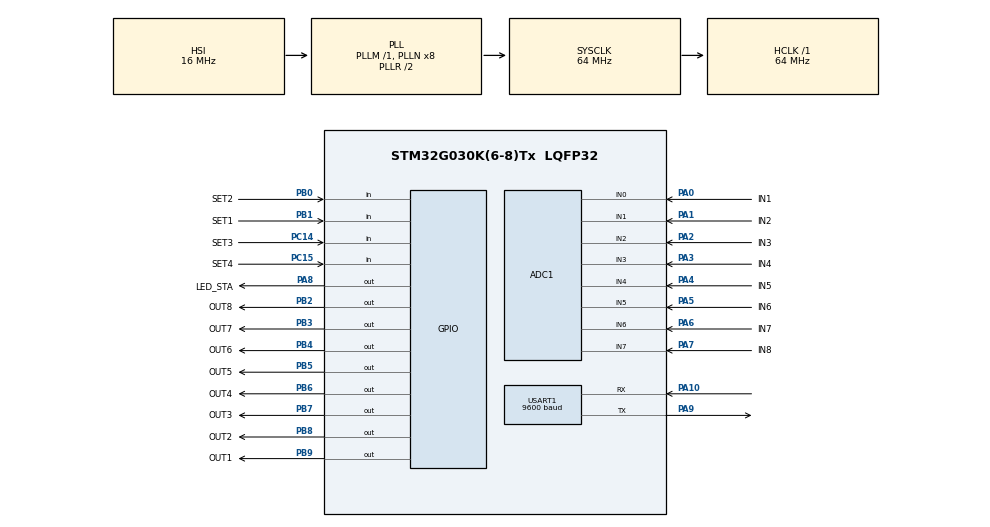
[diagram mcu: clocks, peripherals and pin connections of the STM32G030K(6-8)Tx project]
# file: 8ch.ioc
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ADC1.Channel-0\#ChannelRegularConversion=ADC_CHANNEL_0
ADC1.Channel-1\#ChannelRegularConversion=ADC_CHANNEL_1
ADC1.Channel-2\#ChannelRegularConversion=ADC_CHANNEL_2
ADC1.Channel-3\#ChannelRegularConversion=ADC_CHANNEL_3
ADC1.Channel-4\#ChannelRegularConversion=ADC_CHANNEL_4
ADC1.Channel-5\#ChannelRegularConversion=ADC_CHANNEL_5
ADC1.Channel-6\#ChannelRegularConversion=ADC_CHANNEL_6
ADC1.Channel-7\#ChannelRegularConversion=ADC_CHANNEL_7
ADC1.ClockPrescaler=ADC_CLOCK_ASYNC_DIV1
ADC1.ContinuousConvMode=ENABLE
ADC1.DMAContinuousRequests=ENABLE
ADC1.ExternalTrigConv=ADC_SOFTWARE_START
ADC1.NbrOfConversion=8
ADC1.NbrOfConversionFlag=1
ADC1.Rank-0\#ChannelRegularConversion=1
ADC1.Rank-1\#ChannelRegularConversion=2
ADC1.Rank-2\#ChannelRegularConversion=3
ADC1.Rank-3\#ChannelRegularConversion=4
ADC1.Rank-4\#ChannelRegularConversion=5
ADC1.Rank-5\#ChannelRegularConversion=6
ADC1.Rank-6\#ChannelRegularConversion=7
ADC1.Rank-7\#ChannelRegularConversion=8
ADC1.SamplingTime-0\#ChannelRegularConversion=ADC_SAMPLINGTIME_COMMON_1
ADC1.SamplingTime-1\#ChannelRegularConversion=ADC_SAMPLINGTIME_COMMON_1
ADC1.SamplingTime-2\#ChannelRegularConversion=ADC_SAMPLINGTIME_COMMON_1
ADC1.SamplingTime-3\#ChannelRegularConversion=ADC_SAMPLINGTIME_COMMON_1
ADC1.SamplingTime-4\#ChannelRegularConversion=ADC_SAMPLINGTIME_COMMON_1
ADC1.SamplingTime-5\#ChannelRegularConversion=ADC_SAMPLINGTIME_COMMON_1
ADC1.SamplingTime-6\#ChannelRegularConversion=ADC_SAMPLINGTIME_COMMON_1
ADC1.SamplingTime-7\#ChannelRegularConversion=ADC_SAMPLINGTIME_COMMON_1
ADC1.SamplingTimeCommon1=ADC_SAMPLETIME_79CYCLES_5
ADC1.SamplingTimeCommon2=ADC_SAMPLETIME_79CYCLES_5
ADC1.SelectedChannel=ADC_CHANNEL_0|ADC_CHANNEL_1|ADC_CHANNEL_2|ADC_CHANNEL_3|ADC_CHANNEL_4|ADC_CHANNEL_5|ADC_CHANNEL_6|ADC_CHANNEL_7
ADC1.master=1
Dma.ADC1.1.Direction=DMA_PERIPH_TO_MEMORY
Dma.ADC1.1.EventEnable=DISABLE
Dma.ADC1.1.Instance=DMA1_Channel2
Dma.ADC1.1.MemDataAlignment=DMA_MDATAALIGN_HALFWORD
Dma.ADC1.1.MemInc=DMA_MINC_ENABLE
Dma.ADC1.1.Mode=DMA_CIRCULAR
Dma.ADC1.1.PeriphDataAlignment=DMA_PDATAALIGN_HALFWORD
Dma.ADC1.1.PeriphInc=DMA_PINC_DISABLE
Dma.ADC1.1.Polarity=HAL_DMAMUX_REQ_GEN_RISING
Dma.ADC1.1.Priority=DMA_PRIORITY_VERY_HIGH
Dma.ADC1.1.RequestNumber=1
Dma.ADC1.1.SignalID=NONE
Dma.ADC1.1.SyncEnable=DISABLE
Dma.ADC1.1.SyncPolarity=HAL_DMAMUX_SYNC_NO_EVENT
Dma.ADC1.1.SyncRequestNumber=1
Dma.ADC1.1.SyncSignalID=NONE
Dma.Request0=USART1_TX
Dma.Request1=ADC1
Dma.USART1_TX.0.Direction=DMA_MEMORY_TO_PERIPH
Dma.USART1_TX.0.EventEnable=DISABLE
Dma.USART1_TX.0.Instance=DMA1_Channel1
Dma.USART1_TX.0.MemDataAlignment=DMA_MDATAALIGN_BYTE
Dma.USART1_TX.0.MemInc=DMA_MINC_ENABLE
Dma.USART1_TX.0.Mode=DMA_NORMAL
Dma.USART1_TX.0.PeriphDataAlignment=DMA_PDATAALIGN_BYTE
Dma.USART1_TX.0.PeriphInc=DMA_PINC_DISABLE
Dma.USART1_TX.0.Polarity=HAL_DMAMUX_REQ_GEN_RISING
Dma.USART1_TX.0.Priority=DMA_PRIORITY_LOW
Dma.USART1_TX.0.RequestNumber=1
Dma.USART1_TX.0.SignalID=NONE
Dma.USART1_TX.0.SyncEnable=DISABLE
Dma.USART1_TX.0.SyncPolarity=HAL_DMAMUX_SYNC_NO_EVENT
Dma.USART1_TX.0.SyncRequestNumber=1
Dma.USART1_TX.0.SyncSignalID=NONE
IWDG.Prescaler=IWDG_PRESCALER_128
Mcu.Family=STM32G0
Mcu.Name=STM32G030K(6-8)Tx
Mcu.Package=LQFP32
NVIC.DMA1_Channel1_IRQn=true\:2\:0\:true\:false\:true\:false\:true\:true
NVIC.DMA1_Channel2_3_IRQn=true\:0\:0\:false\:false\:true\:false\:true\:true
NVIC.TIM14_IRQn=true\:0\:0\:false\:false\:true\:true\:true\:true
NVIC.USART1_IRQn=true\:1\:0\:true\:false\:true\:true\:true\:true
PA0.GPIO_Label=IN1
PA0.Mode=IN0
PA0.Signal=ADC1_IN0
PA1.GPIO_Label=IN2
PA1.Mode=IN1
PA1.Signal=ADC1_IN1
PA10.GPIO_PuPd=GPIO_PULLUP
PA10.Mode=Asynchronous
PA10.Signal=USART1_RX
PA13.GPIO_Label=SWDIO
PA13.Mode=Serial_Wire
PA13.Signal=SYS_SWDIO
PA14-BOOT0.GPIO_Label=SWCLK
PA14-BOOT0.Mode=Serial_Wire
PA14-BOOT0.Signal=SYS_SWCLK
PA2.GPIO_Label=IN3
PA2.Mode=IN2
PA2.Signal=ADC1_IN2
PA3.GPIO_Label=IN4
PA3.Mode=IN3
PA3.Signal=ADC1_IN3
PA4.GPIO_Label=IN5
PA4.Mode=IN4
PA4.Signal=ADC1_IN4
PA5.GPIO_Label=IN6
PA5.Mode=IN5
PA5.Signal=ADC1_IN5
PA6.GPIO_Label=IN7
PA6.Mode=IN6
PA6.Signal=ADC1_IN6
PA7.GPIO_Label=IN8
PA7.Mode=IN7
PA7.Signal=ADC1_IN7
PA8.GPIO_Label=LED_STA
PA8.Signal=GPIO_Output
PA9.GPIO_PuPd=GPIO_PULLUP
PA9.Mode=Asynchronous
PA9.Signal=USART1_TX
PB0.GPIO_Label=SET2
PB0.GPIO_Mode=GPIO_MODE_INPUT
PB0.GPIO_PuPd=GPIO_PULLUP
PB0.Signal=GPIO_Input
PB1.GPIO_Label=SET1
PB1.GPIO_Mode=GPIO_MODE_INPUT
PB1.GPIO_PuPd=GPIO_PULLUP
PB1.Signal=GPIO_Input
PB2.GPIO_Label=OUT8
PB2.GPIO_PuPd=GPIO_NOPULL
PB2.Signal=GPIO_Output
PB3.GPIO_Label=OUT7
PB3.GPIO_PuPd=GPIO_NOPULL
PB3.Signal=GPIO_Output
PB4.GPIO_Label=OUT6
PB4.GPIO_PuPd=GPIO_NOPULL
PB4.Signal=GPIO_Output
PB5.GPIO_Label=OUT5
PB5.Signal=GPIO_Output
PB6.GPIO_Label=OUT4
PB6.Signal=GPIO_Output
PB7.GPIO_Label=OUT3
PB7.Signal=GPIO_Output
PB8.GPIO_Label=OUT2
PB8.Signal=GPIO_Output
PB9.GPIO_Label=OUT1
PB9.Signal=GPIO_Output
PC14-OSC32_IN\ (PC14).GPIO_Label=SET3
PC14-OSC32_IN\ (PC14).GPIO_Mode=GPIO_MODE_INPUT
PC14-OSC32_IN\ (PC14).GPIO_PuPd=GPIO_PULLUP
PC14-OSC32_IN\ (PC14).Signal=GPIO_Input
PC15-OSC32_OUT\ (PC15).GPIO_Label=SET4
PC15-OSC32_OUT\ (PC15).GPIO_Mode=GPIO_MODE_INPUT
PC15-OSC32_OUT\ (PC15).GPIO_PuPd=GPIO_PULLUP
PC15-OSC32_OUT\ (PC15).Signal=GPIO_Input
ProjectManager.HeapSize=0x200
ProjectManager.StackSize=0x400
ProjectManager.TargetToolchain=MDK-ARM V5.32
RCC.ADCFreq_Value=64000000
RCC.AHBFreq_Value=64000000
RCC.CortexFreq_Value=64000000
RCC.EXTERNAL_CLOCK_VALUE=12288000
RCC.HCLKFreq_Value=64000000
RCC.HSE_VALUE=8000000
RCC.HSI_VALUE=16000000
RCC.LSE_VALUE=32768
RCC.SYSCLKFreq_VALUE=64000000
RCC.SYSCLKSource=RCC_SYSCLKSOURCE_PLLCLK
RCC.VCOOutputFreq_Value=128000000
TIM14.Period=64000
TIM14.Prescaler=32 - 1
USART1.BaudRate=9600
USART1.VirtualMode-Asynchronous=VM_ASYNC
VP_IWDG_VS_IWDG.Mode=IWDG_Activate
VP_TIM14_VS_ClockSourceINT.Mode=Enable_Timer
board=custom

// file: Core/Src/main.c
/* USER CODE BEGIN Header */
/**
  ******************************************************************************
  * @file           : main.c
  * @brief          : Main program body
  ******************************************************************************
  * @attention
  *
  * <h2><center>&copy; Copyright (c) 2021 STMicroelectronics.
  * All rights reserved.</center></h2>
  *
  * This software component is licensed by ST under BSD 3-Clause license,
  * the "License"; You may not use this file except in compliance with the
  * License. You may obtain a copy of the License at:
  *                        opensource.org/licenses/BSD-3-Clause
  *
  ******************************************************************************
  */
/* USER CODE END Header */
#include "main.h"

/* USER CODE BEGIN Includes */
#include "save.h"

/* USER CODE END Includes */

ADC_HandleTypeDef hadc1;
DMA_HandleTypeDef hdma_adc1;

IWDG_HandleTypeDef hiwdg;

TIM_HandleTypeDef htim14;

UART_HandleTypeDef huart1;
DMA_HandleTypeDef hdma_usart1_tx;

void SystemClock_Config(void);
static void MX_GPIO_Init(void);
static void MX_IWDG_Init(void);
static void MX_DMA_Init(void);
static void MX_USART1_UART_Init(void);
static void MX_TIM14_Init(void);
static void MX_ADC1_Init(void);

/* USER CODE BEGIN 0 */

#ifdef IS_4CH_MODE

#define ADC_BUFFER_SIZE     10
#define ADC_LIST_SIZE       6
#define ADC_CHANNEL_NUM     8
#define CHANNEL_NUM     		4

#else

#define ADC_BUFFER_SIZE     10
#define ADC_LIST_SIZE       6
#define ADC_CHANNEL_NUM     8
#define CHANNEL_NUM     		8

#endif

uint8_t POWER_ON_EN = 0;

//
void GPIO_Output(uint8_t IO, uint8_t state){
  switch(IO){
    case 0:if(state)OUT1_GPIO_Port->BSRR = (uint32_t)OUT1_Pin;else OUT1_GPIO_Port->BRR = (uint32_t)OUT1_Pin;break;
    case 1:if(state)OUT2_GPIO_Port->BSRR = (uint32_t)OUT2_Pin;else OUT2_GPIO_Port->BRR = (uint32_t)OUT2_Pin;break;
    case 2:if(state)OUT3_GPIO_Port->BSRR = (uint32_t)OUT3_Pin;else OUT3_GPIO_Port->BRR = (uint32_t)OUT3_Pin;break;
    case 3:if(state)OUT4_GPIO_Port->BSRR = (uint32_t)OUT4_Pin;else OUT4_GPIO_Port->BRR = (uint32_t)OUT4_Pin;break;
#ifndef IS_4CH_MODE
    case 4:if(state)OUT5_GPIO_Port->BSRR = (uint32_t)OUT5_Pin;else OUT5_GPIO_Port->BRR = (uint32_t)OUT5_Pin;break;
    case 5:if(state)OUT6_GPIO_Port->BSRR = (uint32_t)OUT6_Pin;else OUT6_GPIO_Port->BRR = (uint32_t)OUT6_Pin;break;
    case 6:if(state)OUT7_GPIO_Port->BSRR = (uint32_t)OUT7_Pin;else OUT7_GPIO_Port->BRR = (uint32_t)OUT7_Pin;break;
    case 7:if(state)OUT8_GPIO_Port->BSRR = (uint32_t)OUT8_Pin;else OUT8_GPIO_Port->BRR = (uint32_t)OUT8_Pin;break;
#endif
  }
}

uint16_t OutListFerq = 1000; //us

volatile uint16_t I_Buffer = 0;
volatile uint16_t O_Buffer = 0;
volatile uint16_t O_CountDown[CHANNEL_NUM] = {0};

volatile uint16_t ADC_Buffer[ADC_BUFFER_SIZE][ADC_CHANNEL_NUM];
volatile uint16_t ADC_List[ADC_CHANNEL_NUM][ADC_LIST_SIZE];
volatile uint16_t ADC_Now[ADC_CHANNEL_NUM];

volatile uint16_t ADC_Zero[ADC_CHANNEL_NUM] = {0};

volatile uint8_t InputCount[CHANNEL_NUM] = {0};
volatile uint16_t InputLevel_MAX[CHANNEL_NUM] = {0};
volatile uint16_t InputLevel_Now[CHANNEL_NUM] = {0};

uint8_t SystemError = 0;
uint8_t SystemTest = 0;

#ifndef IS_4CH_MODE
uint8_t SET_1 = 0;
uint8_t SET_2 = 0;
uint8_t SET_3 = 0;
uint8_t SET_4 = 0;
#endif
//输出函数
void IO_OutputList(void){

  for(uint8_t i = 0; i < CHANNEL_NUM; i ++){
    if(O_Buffer & (1 << i)){

      if(POWER_ON_EN)
        GPIO_Output(i, SystemSet.OutLoLength < O_CountDown[i]);

      O_CountDown[i]--;

      if(O_CountDown[i] == 0){
        O_Buffer &= ~(1 << i);
				I_Buffer &= ~(1 << i);
      }
    }
    else{
      O_CountDown[i] = 0;
      GPIO_Output(i, 0);
    }
  }
}

//清除操作
void DoMute(uint8_t ID){
	I_Buffer &= ~(1 << ID);
	InputCount[ID] = 0;
	InputLevel_MAX[ID] = 0;
}

//操作输出
void DoOutput(uint8_t ID){

  UartDebug();

	//清除整组异端
  if(SystemSet.ADC_Mute_Side){

    if(ID > 3){
      DoMute(4);
      DoMute(5);
      DoMute(6);
      DoMute(7);
    }
    else{
      DoMute(0);
      DoMute(1);
      DoMute(2);
      DoMute(3);
    }

  }
  else{

    if(ID == 0 || ID == 3){
      DoMute(1);
      DoMute(2);
    }
    else if(ID == 1 || ID == 2){
      DoMute(0);
      DoMute(3);
    }
    else if(ID == 4 || ID == 7){
      DoMute(5);
      DoMute(6);
    }
    else if(ID == 5 || ID == 6){
      DoMute(4);
      DoMute(7);
    }
    else return;

    DoMute(ID);

  }

  //allow output
  O_Buffer |= 1 << ID;
  O_CountDown[ID] = SystemSet.OutHiLength + SystemSet.OutLoLength;
	//here need to make all channel mute
}

void REG_Output(uint8_t ID,uint16_t Level){

	//首次登记
	if(((I_Buffer>>ID)&1) == 0){
		I_Buffer |= 1<<ID;
		InputCount[ID] = 0;
	}

	//记录最大值
	if(Level > InputLevel_MAX[ID]){
		InputLevel_MAX[ID] = Level;
	}

}

//查找最大值，仅用于登记后
uint8_t CheckAdcMax(uint8_t ID, uint16_t* pValueList){

  uint16_t ADC_Value = pValueList[ID];

  if(SystemSet.ADC_Mute_Side){

    switch(ID){
      //1P
      case 0:
        if(
          ADC_Value < pValueList[1]
         ||ADC_Value < pValueList[2]
         ||ADC_Value < pValueList[3]
          ){
          return 0;
        }
        else{
          return 1;
        }

      case 1:
        if(
          ADC_Value < pValueList[0]
         ||ADC_Value < pValueList[2]
         ||ADC_Value < pValueList[3]
          ){
          return 0;
        }
        else{
          return 1;
        }

      case 2:
        if(
          ADC_Value < pValueList[1]
         ||ADC_Value < pValueList[0]
         ||ADC_Value < pValueList[3]
          ){
          return 0;
        }
        else{
          return 1;
        }

      case 3:
        if(
          ADC_Value < pValueList[1]
         ||ADC_Value < pValueList[2]
         ||ADC_Value < pValueList[0]
          ){
          return 0;
        }
        else{
          return 1;
        }

        //2P
      case 4:
        if(
          ADC_Value < pValueList[5]
         ||ADC_Value < pValueList[6]
         ||ADC_Value < pValueList[7]
          ){
          return 0;
        }
        else{
          return 1;
        }

      case 5:
        if(
          ADC_Value < pValueList[4]
         ||ADC_Value < pValueList[6]
         ||ADC_Value < pValueList[7]
          ){
          return 0;
        }
        else{
          return 1;
        }

      case 6:
        if(
          ADC_Value < pValueList[5]
         ||ADC_Value < pValueList[4]
         ||ADC_Value < pValueList[7]
          ){
          return 0;
        }
        else{
          return 1;
        }

      case 7:
        if(
          ADC_Value < pValueList[5]
         ||ADC_Value < pValueList[6]
         ||ADC_Value < pValueList[4]
          ){
          return 0;
        }
        else{
          return 1;
        }
    }

  }

  else{

    switch(ID){
      //1P
      case 0:
        if(
          ADC_Value < pValueList[1]
         ||ADC_Value < pValueList[2]
          ){
          return 0;
        }
        else{
          return 1;
        }

      case 1:
        if(
          ADC_Value < pValueList[0]
         ||ADC_Value < pValueList[3]
          ){
          return 0;
        }
        else{
          return 1;
        }

      case 2:
        if(
         ADC_Value < pValueList[0]
         ||ADC_Value < pValueList[3]
          ){
          return 0;
        }
        else{
          return 1;
        }

      case 3:
        if(
          ADC_Value < pValueList[1]
         ||ADC_Value < pValueList[2]
          ){
          return 0;
        }
        else{
          return 1;
        }

        //2P
      case 4:
        if(
          ADC_Value < pValueList[5]
         ||ADC_Value < pValueList[6]
          ){
          return 0;
        }
        else{
          return 1;
        }

      case 5:
        if(
          ADC_Value < pValueList[4]
         ||ADC_Value < pValueList[7]
          ){
          return 0;
        }
        else{
          return 1;
        }

      case 6:
        if(
         ADC_Value < pValueList[4]
         ||ADC_Value < pValueList[7]
          ){
          return 0;
        }
        else{
          return 1;
        }

      case 7:
        if(
          ADC_Value < pValueList[5]
         ||ADC_Value < pValueList[6]
          ){
          return 0;
        }
        else{
          return 1;
        }
    }

  }

	return 0;

}

/*
原理：收到自己被触发后，等待设置时间到
在时间段内有高于自己值的就屏蔽自己
*/

void CalPxMute_V2(uint8_t ID){

	//查找组内最大是否为本通道
	if(CheckAdcMax(ID, (uint16_t*)InputLevel_MAX)){
		DoOutput(ID);
	}
	else{
		DoMute(ID);
	}

}

#define AUTO_ZERO_LEN		2048

void AutoZero(void){
	static uint32_t ADC_ADD[CHANNEL_NUM] = {0};
	static uint16_t Count = 0;

	if(I_Buffer){
		memset(ADC_ADD, 0, sizeof(ADC_ADD));
		Count = 0;
	}
	else{
		for(uint8_t i=0; i<CHANNEL_NUM; i++){
			ADC_ADD[i] += ADC_Now[i];
		}
		Count++;

		if(Count >= AUTO_ZERO_LEN){
			for(uint8_t i=0; i<CHANNEL_NUM; i++){
				ADC_Zero[i] = ADC_ADD[i] / Count;
			}
			memset(ADC_ADD, 0, sizeof(ADC_ADD));
			Count = 0;
      if(POWER_ON_EN == 0){
        memset((uint8_t*)InputLevel_MAX, 0, sizeof(InputLevel_MAX));
        POWER_ON_EN = 1;
      }
		}
	}
}

void HAL_ADC_ConvHalfCpltCallback(ADC_HandleTypeDef *hadc)
{
  UNUSED(hadc);
  uint32_t temp;

	//calc adc value
	for(uint8_t i=0;i<CHANNEL_NUM;i++){

		//move list
		for(uint8_t j=0;j < (ADC_LIST_SIZE - 1);j++){
			ADC_List[i][(ADC_LIST_SIZE - 1) - j] = ADC_List[i][(ADC_LIST_SIZE - 1) - j - 1];
		}

		//cal avg
		temp = 0;
		for(uint8_t j=0;j<ADC_BUFFER_SIZE;j++){
			temp += ADC_Buffer[j][SystemSet.ADC_ChannelRemap[i]];
		}
		ADC_Now[i] = (uint16_t)(temp * SystemSet.ADC_Mul[i] / ADC_BUFFER_SIZE / ADC_DIV_DEF);

		//Set Zero
		if(ADC_Zero[i] < ADC_Now[i])
			ADC_List[i][0] = ADC_Now[i] - ADC_Zero[i];
		else
			ADC_List[i][0] = 0;
		InputLevel_Now[i] = ADC_List[i][0];

	}

	//cale trigger
  if(SystemSet.MuteEnable == DISABLE){
		//without mute func

    for(uint8_t i=0;i<CHANNEL_NUM;i++){

      //cal trigger
      for(uint8_t j=0;j<(ADC_LIST_SIZE - 1);j++){
        if(ADC_List[i][0] > (ADC_List[i][j+1] + SystemSet.ADC_Trigger[i])){

          //REG OUTPUT
          I_Buffer |= 1<<i;
          if(((O_Buffer>>i)&1) == 0){
						UartDebug();
            O_CountDown[i] = SystemSet.OutHiLength + SystemSet.OutLoLength;
            O_Buffer |= 1 << i;
          }

          break;
        }
      }
    }

  }

	else if(SystemSet.ADC_WaitMuteTime == 0){
		//mute and time first
		uint16_t max_dt = 0;
		uint8_t max_id = 0;

		if(O_Buffer == 0){
			for(uint8_t i=0;i<CHANNEL_NUM;i++){
				for(uint8_t j=0;j<(ADC_LIST_SIZE - 1);j++){
					if(ADC_List[i][0] > ADC_List[i][j+1]){
						if(ADC_List[i][0] > (ADC_List[i][j+1] + SystemSet.ADC_Trigger[i])){	//do trigger

							if(max_dt < ADC_List[i][0] - ADC_List[i][j+1]){
								max_dt = ADC_List[i][0] - ADC_List[i][j+1];
								max_id = i;
							}
						}
					}
				}
			}
		}
		if(max_dt != 0){
			DoOutput(max_id);
		}

		//end of time first
	}

	else{
		//With Mute

		for(uint8_t i=0;i<CHANNEL_NUM;i++){
			//cal trigger
			if((I_Buffer>>i) & 1){	//This channel has been trigged , GetMax
					REG_Output(i, ADC_List[i][0]);
			}
			else{
				//寻找高脉冲边缘
				for(uint8_t j=0;j<(ADC_LIST_SIZE - 1);j++){

					if(ADC_List[i][0] > ADC_List[i][j+1]){
						if(ADC_List[i][0] > (ADC_List[i][j+1] + SystemSet.ADC_Trigger[i])){//do trigger

							//REG OUTPUT
							if(CheckAdcMax(i,(uint16_t*)InputLevel_Now))
								if(((O_Buffer>>i) & 1) == 0)  //This channel no output Now
									REG_Output(i, ADC_List[i][0]);//GetMax

						}
					}

				}
			}
		}

		//calculate output
		for(uint8_t i=0;i<CHANNEL_NUM;i++){
			if((I_Buffer >> i) & 1){
				InputCount[i]++;
				if(InputCount[i] >= SystemSet.ADC_WaitMuteTime){
					//time out
					CalPxMute_V2(i);
				}
			}
		}

		//end of mute

	}

	AutoZero();

}

#ifndef IS_4CH_MODE

void ReadSet(void){
  SET_1 = HAL_GPIO_ReadPin(SET1_GPIO_Port,SET1_Pin) == 0; //Debug EN
  SET_2 = HAL_GPIO_ReadPin(SET2_GPIO_Port,SET2_Pin) == 0; //load Set = Default
  SET_3 = HAL_GPIO_ReadPin(SET3_GPIO_Port,SET3_Pin) == 0; //Test IO
  SET_4 = HAL_GPIO_ReadPin(SET4_GPIO_Port,SET4_Pin) == 0; //timebase 2X
}

#endif

uint8_t SciBuffer[200];
uint8_t SciLength = 0;
uint8_t SciCount = 0;
uint8_t SciTime = 0;

void UsartStartRec(void){
  HAL_UART_AbortReceive_IT(&huart1);
  HAL_UART_Receive_IT(&huart1, SciBuffer, sizeof(SciBuffer));
}

uint8_t SciCheck(uint8_t* data, uint8_t len){
  if(len < 3)return 1;
  uint16_t CRCData1;
  uint16_t CRCData2;

  CRCData1 = CRCCheck(data, len-2);
  CRCData2 = data[len-1] | (data[len-2]<<8);

  if(CRCData1 == CRCData2)return 0;
  return 1;
}

void GetSciData(UART_HandleTypeDef *huart){

  SciCount++;
  SciLength = huart->RxXferSize - huart->RxXferCount;

  if(0 == SciCheck(SciBuffer,SciLength)){
    //check data cplt
    //do cmd
    SciDoCMD(SciBuffer, SciLength);
  }

  UsartStartRec();
}

void HAL_UART_RxCpltCallback(UART_HandleTypeDef *huart)
{
  GetSciData(huart);
}

uint8_t CloseIrqAndSave(void){
  uint8_t temp;

  HAL_TIM_Base_Stop_IT(&htim14);
  HAL_ADC_Stop_DMA(&hadc1);
	HAL_Delay(5);

  temp = DoSave();

  HAL_TIM_Base_Start_IT(&htim14);
  HAL_ADC_Start_DMA(&hadc1,(uint32_t *)ADC_Buffer,ADC_BUFFER_SIZE*ADC_CHANNEL_NUM);

  return temp;
}

//改为软件断帧
#define UART_FREAM_TIME		2

void UsartTask(void){
  static uint16_t RxXferCount_buf = 0xFF;

  if(huart1.RxXferCount != huart1.RxXferSize){

    if(RxXferCount_buf != huart1.RxXferCount){
      RxXferCount_buf = huart1.RxXferCount;
      SciTime = 0;
    }
    else{
      SciTime ++;
      if(SciTime > UART_FREAM_TIME){
        GetSciData(&huart1);
        SciTime = 0;
        RxXferCount_buf = 0xFF;
      }
    }
  }

}

//开机动画
void ON_Play(void){
  for(uint8_t i = 0; i < CHANNEL_NUM; i ++){
    GPIO_Output(i, 1);
    HAL_Delay(30);
  }
  for(uint8_t i = 0; i < CHANNEL_NUM; i ++){
    GPIO_Output(i, 0);
    HAL_Delay(30);
  }
}

/* USER CODE END 0 */

int main(void)
{
  /* USER CODE BEGIN 1 */
  uint16_t time = 0;
  /* USER CODE END 1 */

  /* MCU Configuration--------------------------------------------------------*/

  /* Reset of all peripherals, Initializes the Flash interface and the Systick. */
  HAL_Init();

  /* Configure the system clock */
  SystemClock_Config();

  /* Initialize all configured peripherals */
  MX_GPIO_Init();
  MX_IWDG_Init();
  MX_DMA_Init();
  MX_USART1_UART_Init();
  MX_TIM14_Init();
  MX_ADC1_Init();
  /* USER CODE BEGIN 2 */

  HAL_FLASH_Lock();

  HAL_Delay(10);

#ifdef IS_4CH_MODE

  SaveInit();

#else

  ReadSet();

  if(SET_4){
    OutListFerq = 2000;
    MX_TIM14_Init();
  }

  if(SET_2){
    SystemSet = SystemSetDefault;
  }
  else{
    SaveInit();
  }

#endif

#ifndef IS_4CH_MODE

	if(SET_3)
	{
		SystemSet = SystemSetTest;
		SystemTest = 1;
	}

#endif

  HAL_IWDG_Refresh(&hiwdg);
  ON_Play();

	HAL_ADCEx_Calibration_Start(&hadc1);
  HAL_TIM_Base_Start_IT(&htim14);
  HAL_ADC_Start_DMA(&hadc1,(uint32_t *)ADC_Buffer,ADC_BUFFER_SIZE*ADC_CHANNEL_NUM);
  HAL_Delay(500);

#ifndef IS_4CH_MODE
  if(SET_1)
#endif
	{
    HAL_UART_Transmit_DMA(&huart1, (uint8_t*)"Power On\r\n",sizeof("Power On\r\n")-1);
    UsartStartRec();
  }

  /* USER CODE END 2 */

  /* Infinite loop */
  /* USER CODE BEGIN WHILE */
  while (1)
  {

    HAL_IWDG_Refresh(&hiwdg);
    UsartTask();

    time++;
    if(time >= 100){
      time = 0;
      if(!SystemError && POWER_ON_EN){
				//开机自检成功闪灯
        HAL_GPIO_TogglePin(LED_STA_GPIO_Port,LED_STA_Pin);
      }
      else{
        HAL_GPIO_WritePin(LED_STA_GPIO_Port,LED_STA_Pin,GPIO_PIN_SET);
      }
    }

    HAL_Delay(1);
    /* USER CODE END WHILE */

  }
}

void SystemClock_Config(void)
{
  RCC_OscInitTypeDef RCC_OscInitStruct = {0};
  RCC_ClkInitTypeDef RCC_ClkInitStruct = {0};
  RCC_PeriphCLKInitTypeDef PeriphClkInit = {0};

  /** Configure the main internal regulator output voltage
  */
  HAL_PWREx_ControlVoltageScaling(PWR_REGULATOR_VOLTAGE_SCALE1);
  /** Initializes the RCC Oscillators according to the specified parameters
  * in the RCC_OscInitTypeDef structure.
  */
  RCC_OscInitStruct.OscillatorType = RCC_OSCILLATORTYPE_HSI|RCC_OSCILLATORTYPE_LSI;
  RCC_OscInitStruct.HSIState = RCC_HSI_ON;
  RCC_OscInitStruct.HSIDiv = RCC_HSI_DIV1;
  RCC_OscInitStruct.HSICalibrationValue = RCC_HSICALIBRATION_DEFAULT;
  RCC_OscInitStruct.LSIState = RCC_LSI_ON;
  RCC_OscInitStruct.PLL.PLLState = RCC_PLL_ON;
  RCC_OscInitStruct.PLL.PLLSource = RCC_PLLSOURCE_HSI;
  RCC_OscInitStruct.PLL.PLLM = RCC_PLLM_DIV1;
  RCC_OscInitStruct.PLL.PLLN = 8;
  RCC_OscInitStruct.PLL.PLLP = RCC_PLLP_DIV2;
  RCC_OscInitStruct.PLL.PLLR = RCC_PLLR_DIV2;
  if (HAL_RCC_OscConfig(&RCC_OscInitStruct) != HAL_OK)
  {
    Error_Handler();
  }
  /** Initializes the CPU, AHB and APB buses clocks
  */
  RCC_ClkInitStruct.ClockType = RCC_CLOCKTYPE_HCLK|RCC_CLOCKTYPE_SYSCLK
                              |RCC_CLOCKTYPE_PCLK1;
  RCC_ClkInitStruct.SYSCLKSource = RCC_SYSCLKSOURCE_PLLCLK;
  RCC_ClkInitStruct.AHBCLKDivider = RCC_SYSCLK_DIV1;
  RCC_ClkInitStruct.APB1CLKDivider = RCC_HCLK_DIV1;

  if (HAL_RCC_ClockConfig(&RCC_ClkInitStruct, FLASH_LATENCY_2) != HAL_OK)
  {
    Error_Handler();
  }
  /** Initializes the peripherals clocks
  */
  PeriphClkInit.PeriphClockSelection = RCC_PERIPHCLK_USART1|RCC_PERIPHCLK_ADC;
  PeriphClkInit.Usart1ClockSelection = RCC_USART1CLKSOURCE_PCLK1;
  PeriphClkInit.AdcClockSelection = RCC_ADCCLKSOURCE_SYSCLK;
  if (HAL_RCCEx_PeriphCLKConfig(&PeriphClkInit) != HAL_OK)
  {
    Error_Handler();
  }
}

static void MX_ADC1_Init(void)
{

  ADC_ChannelConfTypeDef sConfig = {0};

  /** Configure the global features of the ADC (Clock, Resolution, Data Alignment and number of conversion)
  */
  hadc1.Instance = ADC1;
  hadc1.Init.ClockPrescaler = ADC_CLOCK_ASYNC_DIV2;
  hadc1.Init.Resolution = ADC_RESOLUTION_12B;
  hadc1.Init.DataAlign = ADC_DATAALIGN_RIGHT;
  hadc1.Init.ScanConvMode = ADC_SCAN_ENABLE;
  hadc1.Init.EOCSelection = ADC_EOC_SINGLE_CONV;
  hadc1.Init.LowPowerAutoWait = DISABLE;
  hadc1.Init.LowPowerAutoPowerOff = DISABLE;
  hadc1.Init.ContinuousConvMode = ENABLE;
  hadc1.Init.NbrOfConversion = 8;
  hadc1.Init.DiscontinuousConvMode = DISABLE;
  hadc1.Init.ExternalTrigConv = ADC_SOFTWARE_START;
  hadc1.Init.ExternalTrigConvEdge = ADC_EXTERNALTRIGCONVEDGE_NONE;
  hadc1.Init.DMAContinuousRequests = ENABLE;
  hadc1.Init.Overrun = ADC_OVR_DATA_PRESERVED;
  hadc1.Init.SamplingTimeCommon1 = ADC_SAMPLETIME_160CYCLES_5;
  hadc1.Init.SamplingTimeCommon2 = ADC_SAMPLETIME_160CYCLES_5;
  hadc1.Init.OversamplingMode = DISABLE;
  hadc1.Init.TriggerFrequencyMode = ADC_TRIGGER_FREQ_HIGH;
  if (HAL_ADC_Init(&hadc1) != HAL_OK)
  {
    Error_Handler();
  }
  /** Configure Regular Channel
  */
  sConfig.Channel = ADC_CHANNEL_0;
  sConfig.Rank = ADC_REGULAR_RANK_1;
  sConfig.SamplingTime = ADC_SAMPLINGTIME_COMMON_1;
  if (HAL_ADC_ConfigChannel(&hadc1, &sConfig) != HAL_OK)
  {
    Error_Handler();
  }
  /** Configure Regular Channel
  */
  sConfig.Channel = ADC_CHANNEL_1;
  sConfig.Rank = ADC_REGULAR_RANK_2;
  if (HAL_ADC_ConfigChannel(&hadc1, &sConfig) != HAL_OK)
  {
    Error_Handler();
  }
  /** Configure Regular Channel
  */
  sConfig.Channel = ADC_CHANNEL_2;
  sConfig.Rank = ADC_REGULAR_RANK_3;
  if (HAL_ADC_ConfigChannel(&hadc1, &sConfig) != HAL_OK)
  {
    Error_Handler();
  }
  /** Configure Regular Channel
  */
  sConfig.Channel = ADC_CHANNEL_3;
  sConfig.Rank = ADC_REGULAR_RANK_4;
  if (HAL_ADC_ConfigChannel(&hadc1, &sConfig) != HAL_OK)
  {
    Error_Handler();
  }
  /** Configure Regular Channel
  */
  sConfig.Channel = ADC_CHANNEL_4;
  sConfig.Rank = ADC_REGULAR_RANK_5;
  if (HAL_ADC_ConfigChannel(&hadc1, &sConfig) != HAL_OK)
  {
    Error_Handler();
  }
  /** Configure Regular Channel
  */
  sConfig.Channel = ADC_CHANNEL_5;
  sConfig.Rank = ADC_REGULAR_RANK_6;
  if (HAL_ADC_ConfigChannel(&hadc1, &sConfig) != HAL_OK)
  {
    Error_Handler();
  }
  /** Configure Regular Channel
  */
  sConfig.Channel = ADC_CHANNEL_6;
  sConfig.Rank = ADC_REGULAR_RANK_7;
  if (HAL_ADC_ConfigChannel(&hadc1, &sConfig) != HAL_OK)
  {
    Error_Handler();
  }
  /** Configure Regular Channel
  */
  sConfig.Channel = ADC_CHANNEL_7;
  sConfig.Rank = ADC_REGULAR_RANK_8;
  if (HAL_ADC_ConfigChannel(&hadc1, &sConfig) != HAL_OK)
  {
    Error_Handler();
  }

}

static void MX_IWDG_Init(void)
{

  hiwdg.Instance = IWDG;
  hiwdg.Init.Prescaler = IWDG_PRESCALER_128;
  hiwdg.Init.Window = 4095;
  hiwdg.Init.Reload = 4095;
  if (HAL_IWDG_Init(&hiwdg) != HAL_OK)
  {
    Error_Handler();
  }

}

static void MX_TIM14_Init(void)
{

  htim14.Instance = TIM14;
  htim14.Init.Prescaler = 32 - 1;
  htim14.Init.CounterMode = TIM_COUNTERMODE_UP;
  htim14.Init.Period = 2 * OutListFerq - 1;
  htim14.Init.ClockDivision = TIM_CLOCKDIVISION_DIV1;
  htim14.Init.AutoReloadPreload = TIM_AUTORELOAD_PRELOAD_DISABLE;
  if (HAL_TIM_Base_Init(&htim14) != HAL_OK)
  {
    Error_Handler();
  }
  /* USER CODE BEGIN TIM14_Init 2 */
//  htim14.Init.Period = 2 * OutListFerq - 1;
  /* USER CODE END TIM14_Init 2 */

}

static void MX_USART1_UART_Init(void)
{

  huart1.Instance = USART1;
  huart1.Init.BaudRate = 38400;
  huart1.Init.WordLength = UART_WORDLENGTH_8B;
  huart1.Init.StopBits = UART_STOPBITS_1;
  huart1.Init.Parity = UART_PARITY_NONE;
  huart1.Init.Mode = UART_MODE_TX_RX;
  huart1.Init.HwFlowCtl = UART_HWCONTROL_NONE;
  huart1.Init.OverSampling = UART_OVERSAMPLING_16;
  huart1.Init.OneBitSampling = UART_ONE_BIT_SAMPLE_DISABLE;
  huart1.Init.ClockPrescaler = UART_PRESCALER_DIV1;
  huart1.AdvancedInit.AdvFeatureInit = UART_ADVFEATURE_NO_INIT;
  if (HAL_UART_Init(&huart1) != HAL_OK)
  {
    Error_Handler();
  }
  if (HAL_UARTEx_SetTxFifoThreshold(&huart1, UART_TXFIFO_THRESHOLD_1_8) != HAL_OK)
  {
    Error_Handler();
  }
  if (HAL_UARTEx_SetRxFifoThreshold(&huart1, UART_RXFIFO_THRESHOLD_1_8) != HAL_OK)
  {
    Error_Handler();
  }
  if (HAL_UARTEx_DisableFifoMode(&huart1) != HAL_OK)
  {
    Error_Handler();
  }

}

static void MX_DMA_Init(void)
{

  /* DMA controller clock enable */
  __HAL_RCC_DMA1_CLK_ENABLE();

  /* DMA interrupt init */
  /* DMA1_Channel1_IRQn interrupt configuration */
  HAL_NVIC_SetPriority(DMA1_Channel1_IRQn, 2, 0);
  HAL_NVIC_EnableIRQ(DMA1_Channel1_IRQn);
  /* DMA1_Channel2_3_IRQn interrupt configuration */
  HAL_NVIC_SetPriority(DMA1_Channel2_3_IRQn, 0, 0);
  HAL_NVIC_EnableIRQ(DMA1_Channel2_3_IRQn);

}

/* USER CODE BEGIN 4 */

#ifndef IS_4CH_MODE

/**
  * @brief GPIO Initialization Function
  * @param None
  * @retval None
  */
static void MX_GPIO_Init(void)
{
  GPIO_InitTypeDef GPIO_InitStruct = {0};

  /* GPIO Ports Clock Enable */
  __HAL_RCC_GPIOB_CLK_ENABLE();
  __HAL_RCC_GPIOC_CLK_ENABLE();
  __HAL_RCC_GPIOA_CLK_ENABLE();

  /*Configure GPIO pin Output Level */
  HAL_GPIO_WritePin(GPIOB, OUT1_Pin|OUT8_Pin|OUT7_Pin|OUT6_Pin
                          |OUT5_Pin|OUT4_Pin|OUT3_Pin|OUT2_Pin, GPIO_PIN_RESET);

  /*Configure GPIO pin Output Level */
  HAL_GPIO_WritePin(LED_STA_GPIO_Port, LED_STA_Pin, GPIO_PIN_RESET);

  /*Configure GPIO pins : OUT1_Pin OUT8_Pin OUT7_Pin OUT6_Pin
                           OUT5_Pin OUT4_Pin OUT3_Pin OUT2_Pin */
  GPIO_InitStruct.Pin = OUT1_Pin|OUT8_Pin|OUT7_Pin|OUT6_Pin
                          |OUT5_Pin|OUT4_Pin|OUT3_Pin|OUT2_Pin;
  GPIO_InitStruct.Mode = GPIO_MODE_OUTPUT_PP;
  GPIO_InitStruct.Pull = GPIO_NOPULL;
  GPIO_InitStruct.Speed = GPIO_SPEED_FREQ_LOW;
  HAL_GPIO_Init(GPIOB, &GPIO_InitStruct);

  /*Configure GPIO pins : SET3_Pin SET4_Pin */
  GPIO_InitStruct.Pin = SET3_Pin|SET4_Pin;
  GPIO_InitStruct.Mode = GPIO_MODE_INPUT;
  GPIO_InitStruct.Pull = GPIO_PULLUP;
  HAL_GPIO_Init(GPIOC, &GPIO_InitStruct);

  /*Configure GPIO pins : SET2_Pin SET1_Pin */
  GPIO_InitStruct.Pin = SET2_Pin|SET1_Pin;
  GPIO_InitStruct.Mode = GPIO_MODE_INPUT;
  GPIO_InitStruct.Pull = GPIO_PULLUP;
  HAL_GPIO_Init(GPIOB, &GPIO_InitStruct);

  /*Configure GPIO pin : LED_STA_Pin */
  GPIO_InitStruct.Pin = LED_STA_Pin;
  GPIO_InitStruct.Mode = GPIO_MODE_OUTPUT_PP;
  GPIO_InitStruct.Pull = GPIO_NOPULL;
  GPIO_InitStruct.Speed = GPIO_SPEED_FREQ_LOW;
  HAL_GPIO_Init(LED_STA_GPIO_Port, &GPIO_InitStruct);

}

#else

static void MX_GPIO_Init(void)
{
  GPIO_InitTypeDef GPIO_InitStruct = {0};

  /* GPIO Ports Clock Enable */
  __HAL_RCC_GPIOB_CLK_ENABLE();
  __HAL_RCC_GPIOC_CLK_ENABLE();
  __HAL_RCC_GPIOA_CLK_ENABLE();

  /*Configure GPIO pin Output Level */
  HAL_GPIO_WritePin(GPIOC, OUT2_Pin|OUT3_Pin, GPIO_PIN_RESET);

  /*Configure GPIO pin Output Level */
  HAL_GPIO_WritePin(GPIOA, LED_STA_Pin|OUT1_Pin|OUT4_Pin, GPIO_PIN_RESET);

  /*Configure GPIO pins : OUT2_Pin OUT3_Pin */
  GPIO_InitStruct.Pin = OUT2_Pin|OUT3_Pin;
  GPIO_InitStruct.Mode = GPIO_MODE_OUTPUT_PP;
  GPIO_InitStruct.Pull = GPIO_NOPULL;
  GPIO_InitStruct.Speed = GPIO_SPEED_FREQ_LOW;
  HAL_GPIO_Init(GPIOC, &GPIO_InitStruct);

  /*Configure GPIO pins : LED_STA_Pin OUT1_Pin OUT4_Pin */
  GPIO_InitStruct.Pin = LED_STA_Pin|OUT1_Pin|OUT4_Pin;
  GPIO_InitStruct.Mode = GPIO_MODE_OUTPUT_PP;
  GPIO_InitStruct.Pull = GPIO_NOPULL;
  GPIO_InitStruct.Speed = GPIO_SPEED_FREQ_LOW;
  HAL_GPIO_Init(GPIOA, &GPIO_InitStruct);

}

#endif

/* USER CODE END 4 */

void Error_Handler(void)
{
  __disable_irq();
  while (1)
  {
  }
}

/************************ (C) COPYRIGHT STMicroelectronics *****END OF FILE****/
